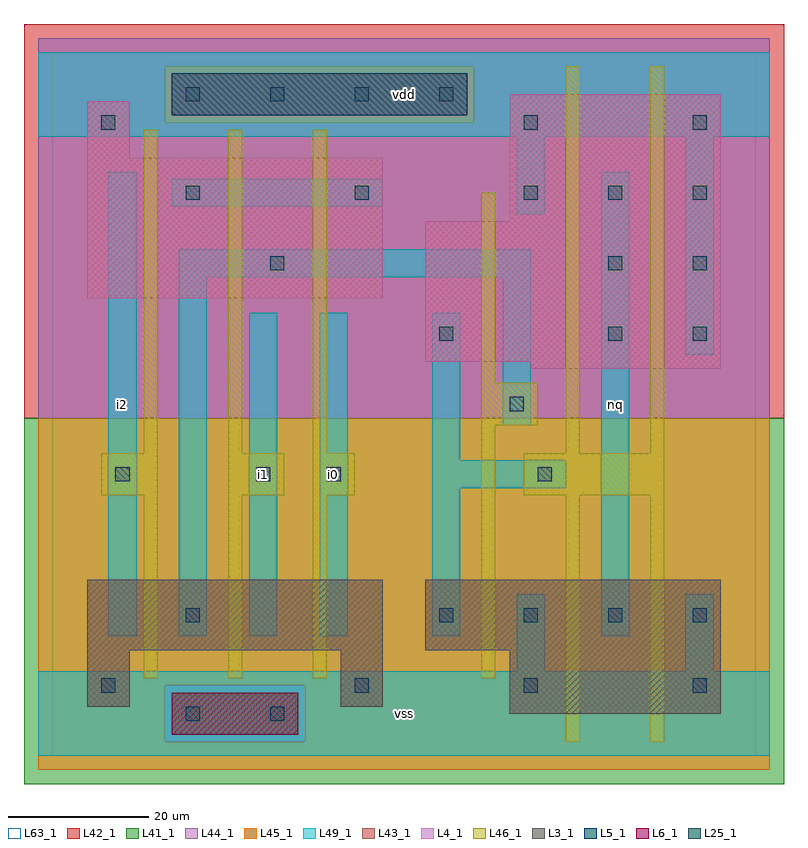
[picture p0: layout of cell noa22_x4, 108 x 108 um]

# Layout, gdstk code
import gdstk
lib = gdstk.Library(unit=1e-6, precision=1e-09)
def R(c, l, rs):  # rectangles x0, y0, x1, y1
    for r in rs: c.add(gdstk.rectangle(r[:2], r[2:], *l))
def A(c, l, x, y, w, h, nx, ny, dx, dy):  # array of equal rectangles
    R(c, l, [(x+i*dx, y+j*dy, x+i*dx+w, y+j*dy+h) for i in range(nx) for j in range(ny)])
L3_1 = (3, 1)
L4_1 = (4, 1)
L5_1 = (5, 1)
L6_1 = (6, 1)
L25_1 = (25, 1)
L41_1 = (41, 1)
L42_1 = (42, 1)
L43_1 = (43, 1)
L44_1 = (44, 1)
L45_1 = (45, 1)
L46_1 = (46, 1)
L49_1 = (49, 1)
L63_1 = (63, 1)

noa22_x4 = lib.new_cell('noa22_x4')
R(noa22_x4, L3_1, [(65,6,95,15), (5,7,11,15), (41,7,47,15), (5,15,47,25), (53,15,95,25)])
R(noa22_x4, L4_1, [(68,55,95,56), (53,56,95,76), (5,65,47,85), (65,76,95,94), (5,85,11,93)])
R(noa22_x4, L5_1, [(17,91,59,97)])
R(noa22_x4, L6_1, [(17,3,35,9), (17,3,35,9)])
A(noa22_x4, L25_1, 43, 9, 2, 2, 3, 1, 24, 0)
A(noa22_x4, L25_1, 55, 19, 2, 2, 4, 1, 12, 0)
A(noa22_x4, L25_1, 79, 59, 2, 2, 1, 3, 0, 10)
A(noa22_x4, L25_1, 91, 59, 2, 2, 1, 4, 0, 10)
A(noa22_x4, L25_1, 19, 79, 2, 2, 3, 1, 24, 0)
A(noa22_x4, L25_1, 19, 93, 2, 2, 4, 1, 12, 0)
R(noa22_x4, L25_1, [(19,5,21,7), (31,5,33,7), (7,9,9,11), (19,19,21,21), (9,39,11,41), (29,39,31,41), (39,39,41,41), (69,39,71,41), (65,49,67,51), (55,59,57,61), (31,69,33,71), (7,89,9,91), (67,89,69,91)])
R(noa22_x4, L41_1, [(-4,-4,104,48)])
R(noa22_x4, L42_1, [(-4,48,104,104)])
R(noa22_x4, L43_1, [(17,3,35,9), (65,6,95,15), (5,7,11,15), (41,7,47,15), (5,15,47,25), (53,15,95,25), (68,55,95,56), (53,56,95,76), (5,65,47,85), (65,76,95,94), (5,85,11,93), (17,91,59,97)])
R(noa22_x4, L44_1, [(16,2,36,10), (-2,48,102,90), (-2,90,16,98), (60,90,102,98), (-2,98,102,102)])
R(noa22_x4, L45_1, [(-2,-2,102,2), (-2,2,16,10), (36,2,102,10), (-2,10,102,48), (16,90,60,98)])
A(noa22_x4, L46_1, 13, 11, 2, 26, 3, 1, 12, 0)
A(noa22_x4, L46_1, 13, 43, 2, 46, 3, 1, 12, 0)
R(noa22_x4, L46_1, [(73,2,75,37), (85,2,87,37), (61,11,63,47), (7,37,15,43), (25,37,33,43), (37,37,43,43), (67,37,87,43), (73,43,75,98), (85,43,87,98), (61,47,69,53), (61,53,63,80)])
R(noa22_x4, L49_1, [(-2,0,102,12), (66,12,70,23), (90,12,94,23), (8,17,12,83), (18,17,22,68), (28,17,32,63), (38,17,42,63), (54,17,58,38), (78,17,82,83), (54,38,73,42), (54,42,58,63), (64,47,68,68), (90,57,94,88), (18,68,68,72), (66,77,70,88), (17,78,47,82), (-2,88,102,100)])
R(noa22_x4, L63_1, [(0,0,100,100)])
noa22_x4.add(gdstk.Label('i2', (10,50), layer=49, texttype=1))
noa22_x4.add(gdstk.Label('i0', (40,40), layer=49, texttype=1))
noa22_x4.add(gdstk.Label('i1', (30,40), layer=49, texttype=1))
noa22_x4.add(gdstk.Label('vss', (50,6), layer=49, texttype=1))
noa22_x4.add(gdstk.Label('vdd', (50,94), layer=49, texttype=1))
noa22_x4.add(gdstk.Label('nq', (80,50), layer=49, texttype=1))

lib.write_gds('noa22_x4.gds')
